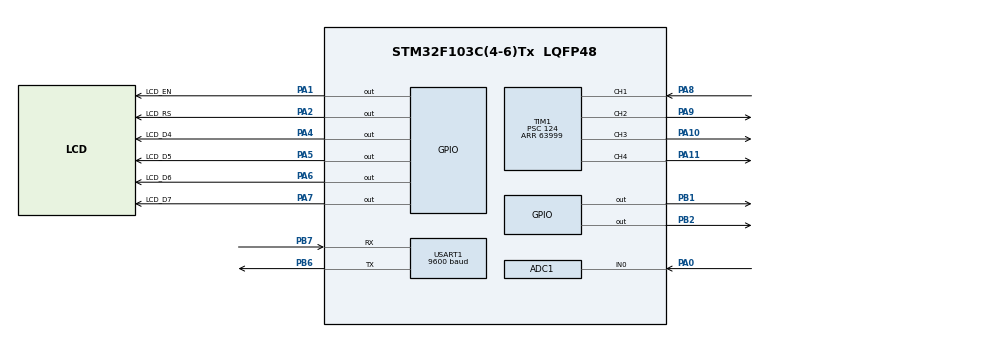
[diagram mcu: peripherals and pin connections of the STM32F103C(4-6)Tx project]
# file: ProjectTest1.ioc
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ADC1.Channel-1\#ChannelRegularConversion=ADC_CHANNEL_0
ADC1.NbrOfConversionFlag=1
ADC1.Rank-1\#ChannelRegularConversion=1
ADC1.SamplingTime-1\#ChannelRegularConversion=ADC_SAMPLETIME_1CYCLE_5
ADC1.master=1
Mcu.Family=STM32F1
Mcu.Name=STM32F103C(4-6)Tx
Mcu.Package=LQFP48
NVIC.ADC1_2_IRQn=true\:0\:0\:false\:false\:true\:true\:true
NVIC.PriorityGroup=NVIC_PRIORITYGROUP_4
NVIC.TIM1_CC_IRQn=true\:0\:0\:false\:false\:true\:true\:true
NVIC.USART1_IRQn=true\:0\:0\:false\:false\:true\:true\:true
PA0-WKUP.Signal=ADCx_IN0
PA1.GPIO_Label=LCD_EN
PA1.Signal=GPIO_Output
PA10.Signal=S_TIM1_CH3
PA11.Signal=S_TIM1_CH4
PA2.GPIO_Label=LCD_RS
PA2.Signal=GPIO_Output
PA4.GPIO_Label=LCD_D4
PA4.Signal=GPIO_Output
PA5.GPIO_Label=LCD_D5
PA5.Signal=GPIO_Output
PA6.GPIO_Label=LCD_D6
PA6.Signal=GPIO_Output
PA7.GPIO_Label=LCD_D7
PA7.Signal=GPIO_Output
PA8.Signal=S_TIM1_CH1
PA9.Signal=S_TIM1_CH2
PB1.Signal=GPIO_Output
PB2.Signal=GPIO_Output
PB6.Mode=Asynchronous
PB6.Signal=USART1_TX
PB7.Mode=Asynchronous
PB7.Signal=USART1_RX
ProjectManager.HeapSize=0x200
ProjectManager.StackSize=0x400
ProjectManager.TargetToolchain=MDK-ARM V5.27
RCC.APB1Freq_Value=8000000
RCC.APB2Freq_Value=8000000
RCC.SYSCLKSource=RCC_SYSCLKSOURCE_PLLCLK
SH.ADCx_IN0.0=ADC1_IN0,IN0
SH.S_TIM1_CH1.0=TIM1_CH1,Input_Capture1_from_TI1
SH.S_TIM1_CH2.0=TIM1_CH2,PWM Generation2 CH2
SH.S_TIM1_CH3.0=TIM1_CH3,PWM Generation3 CH3
SH.S_TIM1_CH4.0=TIM1_CH4,Output Compare4 CH4
TIM1.Channel-Input_Capture1_from_TI1=TIM_CHANNEL_1
TIM1.Channel-Output\ Compare4\ CH4=TIM_CHANNEL_4
TIM1.Channel-PWM\ Generation2\ CH2=TIM_CHANNEL_2
TIM1.Channel-PWM\ Generation3\ CH3=TIM_CHANNEL_3
TIM1.OCMode_4=TIM_OCMODE_TOGGLE
TIM1.Period=63999
TIM1.Prescaler=124
TIM1.Pulse-PWM\ Generation2\ CH2=42666
TIM1.Pulse-PWM\ Generation3\ CH3=42666
USART1.BaudRate=9600
USART1.VirtualMode=VM_ASYNC
VP_SYS_VS_ND.Mode=No_Debug
VP_TIM1_VS_ClockSourceINT.Mode=Internal
board=custom

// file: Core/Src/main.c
/* USER CODE BEGIN Header */
/**
  ******************************************************************************
  * @file           : main.c
  * @brief          : Main program body
  ******************************************************************************
  * @attention
  *
  * <h2><center>&copy; Copyright (c) 2021 STMicroelectronics.
  * All rights reserved.</center></h2>
  *
  * This software component is licensed by ST under BSD 3-Clause license,
  * the "License"; You may not use this file except in compliance with the
  * License. You may obtain a copy of the License at:
  *                        opensource.org/licenses/BSD-3-Clause
  *
  ******************************************************************************
  */
/* USER CODE END Header */
#include "main.h"

/* USER CODE BEGIN Includes */
#include "LCD.h"
#include "stdio.h"
/* USER CODE END Includes */

ADC_HandleTypeDef hadc1;

TIM_HandleTypeDef htim1;

UART_HandleTypeDef huart1;

/* USER CODE BEGIN PV */
// Initializing variables for the temperature and adc
	float value_adc;
	float ideal_mode = 27;
	float UltraPower = 36;
/* USER CODE END PV */

void SystemClock_Config(void);
static void MX_GPIO_Init(void);
static void MX_ADC1_Init(void);
static void MX_TIM1_Init(void);
static void MX_USART1_UART_Init(void);

/* USER CODE BEGIN PFP */
// ADC fucntion to convert it into Celsius
void HAL_ADC_ConvCpltCallback(ADC_HandleTypeDef* hadc)
{
	//Getting the value of ADC and converting it to Celsius by multiplying by 0.085
	value_adc = HAL_ADC_GetValue(&hadc1);
	value_adc = value_adc * 0.085;
		//0.0805664

	// Start Power mode using PWD timer
	if(value_adc > ideal_mode){
		HAL_TIM_PWM_Start(&htim1, TIM_CHANNEL_2);
	} else {
		HAL_TIM_PWM_Stop(&htim1, TIM_CHANNEL_2);
	}
	// Start UltraPower mode using Output capture timer
	if(value_adc > UltraPower){
		HAL_TIM_OC_Start(&htim1, TIM_CHANNEL_4);
	}	else{
		HAL_TIM_OC_Stop(&htim1, TIM_CHANNEL_4);
	}
}
/* USER CODE END PFP */

int main(void)
{

  /* MCU Configuration--------------------------------------------------------*/

  /* Reset of all peripherals, Initializes the Flash interface and the Systick. */
  HAL_Init();

  /* Configure the system clock */
  SystemClock_Config();

  /* Initialize all configured peripherals */
  MX_GPIO_Init();
  MX_ADC1_Init();
  MX_TIM1_Init();
  MX_USART1_UART_Init();
  /* USER CODE BEGIN 2 */
	HAL_TIM_IC_Start_IT(&htim1, TIM_CHANNEL_1);
	HAL_TIM_PWM_Start(&htim1, TIM_CHANNEL_2);
  HAL_TIM_PWM_Start(&htim1, TIM_CHANNEL_3);

  /* USER CODE END 2 */

  /* Infinite loop */
  /* USER CODE BEGIN WHILE */
	// Initializing char values for the USART communication
		char uartData[50];
		char uartData2[50];
		char uartData3[50];
	// Initializing the LCD display method
		lcd_init(_LCD_4BIT, _LCD_FONT_5x8, _LCD_2LINE);
		lcd_print(1,1, "Program Starting....");
		lcd_clear();

  while (1)
  {
    /* USER CODE END WHILE */

    /* USER CODE BEGIN 3 */

		// start the ADC
		HAL_ADC_Start_IT(&hadc1);

		// If the temp value is more than 36 we print the current mode (Ultra Power mode) and temperature on the virutal terminal and the LCD display
		if(value_adc > UltraPower){

		int len1 = sprintf(uartData3, "\r\nULTRA POWER MODE INITAITED\r\n");
		HAL_UART_Transmit(&huart1, (uint8_t*)uartData3, len1+1, HAL_MAX_DELAY);
		int len = sprintf(uartData, "Temperature = ");
		lcd_print(1,1,uartData);

		int lent2 = sprintf(uartData2, "%d.%02u C\r\n", (int) value_adc, (int) ((value_adc - (int) value_adc) * 100 ));
		HAL_UART_Transmit(&huart1, (uint8_t*)uartData, len+1, HAL_MAX_DELAY);
		HAL_UART_Transmit(&huart1, (uint8_t*)uartData2, len+1, HAL_MAX_DELAY);
		lcd_print(2, 1, uartData2);
		}

		// else if the temp value is more than 27 we print the current mode (Power mode) and temperature on the virutal terminal and the LCD display
		else if(value_adc > ideal_mode){
		int len1 = sprintf(uartData3, "\r\nPOWER MODE INITAITED\r\n");
		HAL_UART_Transmit(&huart1, (uint8_t*)uartData3, len1+1, HAL_MAX_DELAY);
		int len = sprintf(uartData, "Temperature = ");
		lcd_print(1,1,uartData);

		int lent2 = sprintf(uartData2, "%d.%02u C\r\n", (int) value_adc, (int) ((value_adc - (int) value_adc) * 100 ));
		HAL_UART_Transmit(&huart1, (uint8_t*)uartData, len+1, HAL_MAX_DELAY);
		HAL_UART_Transmit(&huart1, (uint8_t*)uartData2, len+1, HAL_MAX_DELAY);
		lcd_print(2, 1, uartData2);

		// else if the value is below 27 we print the current mode (Ideal mode) and temperature on the virutal terminal and the LCD display
		} else {
		int len1 = sprintf(uartData3, "\r\nPOWER MODE OFF\rIDEAL MODE INITAITED\r\n");
		HAL_UART_Transmit(&huart1, (uint8_t*)uartData3, len1+1, HAL_MAX_DELAY);
		int len = sprintf(uartData, "Temperature = ");
		lcd_print(1,1,uartData);

		int lent2 = sprintf(uartData2, "%d.%02u C\r\n", (int) value_adc, (int) ((value_adc - (int) value_adc) * 100 ));
		HAL_UART_Transmit(&huart1, (uint8_t*)uartData, len+1, HAL_MAX_DELAY);
		HAL_UART_Transmit(&huart1, (uint8_t*)uartData2, len+1, HAL_MAX_DELAY);
		lcd_print(2, 1, uartData2);
		}

  }
  /* USER CODE END 3 */
}

void SystemClock_Config(void)
{
  RCC_OscInitTypeDef RCC_OscInitStruct = {0};
  RCC_ClkInitTypeDef RCC_ClkInitStruct = {0};
  RCC_PeriphCLKInitTypeDef PeriphClkInit = {0};

  /** Initializes the RCC Oscillators according to the specified parameters
  * in the RCC_OscInitTypeDef structure.
  */
  RCC_OscInitStruct.OscillatorType = RCC_OSCILLATORTYPE_HSI;
  RCC_OscInitStruct.HSIState = RCC_HSI_ON;
  RCC_OscInitStruct.HSICalibrationValue = RCC_HSICALIBRATION_DEFAULT;
  RCC_OscInitStruct.PLL.PLLState = RCC_PLL_ON;
  RCC_OscInitStruct.PLL.PLLSource = RCC_PLLSOURCE_HSI_DIV2;
  RCC_OscInitStruct.PLL.PLLMUL = RCC_PLL_MUL2;
  if (HAL_RCC_OscConfig(&RCC_OscInitStruct) != HAL_OK)
  {
    Error_Handler();
  }
  /** Initializes the CPU, AHB and APB buses clocks
  */
  RCC_ClkInitStruct.ClockType = RCC_CLOCKTYPE_HCLK|RCC_CLOCKTYPE_SYSCLK
                              |RCC_CLOCKTYPE_PCLK1|RCC_CLOCKTYPE_PCLK2;
  RCC_ClkInitStruct.SYSCLKSource = RCC_SYSCLKSOURCE_PLLCLK;
  RCC_ClkInitStruct.AHBCLKDivider = RCC_SYSCLK_DIV1;
  RCC_ClkInitStruct.APB1CLKDivider = RCC_HCLK_DIV1;
  RCC_ClkInitStruct.APB2CLKDivider = RCC_HCLK_DIV1;

  if (HAL_RCC_ClockConfig(&RCC_ClkInitStruct, FLASH_LATENCY_0) != HAL_OK)
  {
    Error_Handler();
  }
  PeriphClkInit.PeriphClockSelection = RCC_PERIPHCLK_ADC;
  PeriphClkInit.AdcClockSelection = RCC_ADCPCLK2_DIV2;
  if (HAL_RCCEx_PeriphCLKConfig(&PeriphClkInit) != HAL_OK)
  {
    Error_Handler();
  }
}

static void MX_ADC1_Init(void)
{

  ADC_ChannelConfTypeDef sConfig = {0};

  /** Common config
  */
  hadc1.Instance = ADC1;
  hadc1.Init.ScanConvMode = ADC_SCAN_DISABLE;
  hadc1.Init.ContinuousConvMode = DISABLE;
  hadc1.Init.DiscontinuousConvMode = DISABLE;
  hadc1.Init.ExternalTrigConv = ADC_SOFTWARE_START;
  hadc1.Init.DataAlign = ADC_DATAALIGN_RIGHT;
  hadc1.Init.NbrOfConversion = 1;
  if (HAL_ADC_Init(&hadc1) != HAL_OK)
  {
    Error_Handler();
  }
  /** Configure Regular Channel
  */
  sConfig.Channel = ADC_CHANNEL_0;
  sConfig.Rank = ADC_REGULAR_RANK_1;
  sConfig.SamplingTime = ADC_SAMPLETIME_1CYCLE_5;
  if (HAL_ADC_ConfigChannel(&hadc1, &sConfig) != HAL_OK)
  {
    Error_Handler();
  }

}

static void MX_TIM1_Init(void)
{

  TIM_ClockConfigTypeDef sClockSourceConfig = {0};
  TIM_MasterConfigTypeDef sMasterConfig = {0};
  TIM_IC_InitTypeDef sConfigIC = {0};
  TIM_OC_InitTypeDef sConfigOC = {0};
  TIM_BreakDeadTimeConfigTypeDef sBreakDeadTimeConfig = {0};

  htim1.Instance = TIM1;
  htim1.Init.Prescaler = 124;
  htim1.Init.CounterMode = TIM_COUNTERMODE_UP;
  htim1.Init.Period = 63999;
  htim1.Init.ClockDivision = TIM_CLOCKDIVISION_DIV1;
  htim1.Init.RepetitionCounter = 0;
  htim1.Init.AutoReloadPreload = TIM_AUTORELOAD_PRELOAD_DISABLE;
  if (HAL_TIM_Base_Init(&htim1) != HAL_OK)
  {
    Error_Handler();
  }
  sClockSourceConfig.ClockSource = TIM_CLOCKSOURCE_INTERNAL;
  if (HAL_TIM_ConfigClockSource(&htim1, &sClockSourceConfig) != HAL_OK)
  {
    Error_Handler();
  }
  if (HAL_TIM_IC_Init(&htim1) != HAL_OK)
  {
    Error_Handler();
  }
  if (HAL_TIM_PWM_Init(&htim1) != HAL_OK)
  {
    Error_Handler();
  }
  if (HAL_TIM_OC_Init(&htim1) != HAL_OK)
  {
    Error_Handler();
  }
  sMasterConfig.MasterOutputTrigger = TIM_TRGO_RESET;
  sMasterConfig.MasterSlaveMode = TIM_MASTERSLAVEMODE_DISABLE;
  if (HAL_TIMEx_MasterConfigSynchronization(&htim1, &sMasterConfig) != HAL_OK)
  {
    Error_Handler();
  }
  sConfigIC.ICPolarity = TIM_INPUTCHANNELPOLARITY_RISING;
  sConfigIC.ICSelection = TIM_ICSELECTION_DIRECTTI;
  sConfigIC.ICPrescaler = TIM_ICPSC_DIV1;
  sConfigIC.ICFilter = 0;
  if (HAL_TIM_IC_ConfigChannel(&htim1, &sConfigIC, TIM_CHANNEL_1) != HAL_OK)
  {
    Error_Handler();
  }
  sConfigOC.OCMode = TIM_OCMODE_PWM1;
  sConfigOC.Pulse = 42666;
  sConfigOC.OCPolarity = TIM_OCPOLARITY_HIGH;
  sConfigOC.OCNPolarity = TIM_OCNPOLARITY_HIGH;
  sConfigOC.OCFastMode = TIM_OCFAST_DISABLE;
  sConfigOC.OCIdleState = TIM_OCIDLESTATE_RESET;
  sConfigOC.OCNIdleState = TIM_OCNIDLESTATE_RESET;
  if (HAL_TIM_PWM_ConfigChannel(&htim1, &sConfigOC, TIM_CHANNEL_2) != HAL_OK)
  {
    Error_Handler();
  }
  sConfigOC.Pulse = 42666;
  if (HAL_TIM_PWM_ConfigChannel(&htim1, &sConfigOC, TIM_CHANNEL_3) != HAL_OK)
  {
    Error_Handler();
  }
	//TIM_OCMODE_TOGGLE
  sConfigOC.OCMode = TIM_OCMODE_TOGGLE;
  sConfigOC.Pulse = 42666;
  if (HAL_TIM_OC_ConfigChannel(&htim1, &sConfigOC, TIM_CHANNEL_4) != HAL_OK)
  {
    Error_Handler();
  }
  sBreakDeadTimeConfig.OffStateRunMode = TIM_OSSR_DISABLE;
  sBreakDeadTimeConfig.OffStateIDLEMode = TIM_OSSI_DISABLE;
  sBreakDeadTimeConfig.LockLevel = TIM_LOCKLEVEL_OFF;
  sBreakDeadTimeConfig.DeadTime = 0;
  sBreakDeadTimeConfig.BreakState = TIM_BREAK_DISABLE;
  sBreakDeadTimeConfig.BreakPolarity = TIM_BREAKPOLARITY_HIGH;
  sBreakDeadTimeConfig.AutomaticOutput = TIM_AUTOMATICOUTPUT_DISABLE;
  if (HAL_TIMEx_ConfigBreakDeadTime(&htim1, &sBreakDeadTimeConfig) != HAL_OK)
  {
    Error_Handler();
  }
  HAL_TIM_MspPostInit(&htim1);

}

static void MX_USART1_UART_Init(void)
{

  huart1.Instance = USART1;
  huart1.Init.BaudRate = 9600;
  huart1.Init.WordLength = UART_WORDLENGTH_8B;
  huart1.Init.StopBits = UART_STOPBITS_1;
  huart1.Init.Parity = UART_PARITY_NONE;
  huart1.Init.Mode = UART_MODE_TX_RX;
  huart1.Init.HwFlowCtl = UART_HWCONTROL_NONE;
  huart1.Init.OverSampling = UART_OVERSAMPLING_16;
  if (HAL_UART_Init(&huart1) != HAL_OK)
  {
    Error_Handler();
  }

}

static void MX_GPIO_Init(void)
{
  GPIO_InitTypeDef GPIO_InitStruct = {0};

  /* GPIO Ports Clock Enable */
  __HAL_RCC_GPIOA_CLK_ENABLE();
  __HAL_RCC_GPIOB_CLK_ENABLE();

  /*Configure GPIO pin Output Level */
  HAL_GPIO_WritePin(GPIOA, LCD_EN_Pin|LCD_RS_Pin|LCD_D4_Pin|LCD_D5_Pin
                          |LCD_D6_Pin|LCD_D7_Pin, GPIO_PIN_RESET);

  /*Configure GPIO pin Output Level */
  HAL_GPIO_WritePin(GPIOB, GPIO_PIN_1|GPIO_PIN_2, GPIO_PIN_RESET);

  /*Configure GPIO pins : LCD_EN_Pin LCD_RS_Pin LCD_D4_Pin LCD_D5_Pin
                           LCD_D6_Pin LCD_D7_Pin */
  GPIO_InitStruct.Pin = LCD_EN_Pin|LCD_RS_Pin|LCD_D4_Pin|LCD_D5_Pin
                          |LCD_D6_Pin|LCD_D7_Pin;
  GPIO_InitStruct.Mode = GPIO_MODE_OUTPUT_PP;
  GPIO_InitStruct.Pull = GPIO_NOPULL;
  GPIO_InitStruct.Speed = GPIO_SPEED_FREQ_LOW;
  HAL_GPIO_Init(GPIOA, &GPIO_InitStruct);

  /*Configure GPIO pins : PB1 PB2 */
  GPIO_InitStruct.Pin = GPIO_PIN_1|GPIO_PIN_2;
  GPIO_InitStruct.Mode = GPIO_MODE_OUTPUT_PP;
  GPIO_InitStruct.Pull = GPIO_NOPULL;
  GPIO_InitStruct.Speed = GPIO_SPEED_FREQ_LOW;
  HAL_GPIO_Init(GPIOB, &GPIO_InitStruct);

}

void Error_Handler(void)
{
  __disable_irq();
  while (1)
  {
  }
}

/************************ (C) COPYRIGHT STMicroelectronics *****END OF FILE****/
